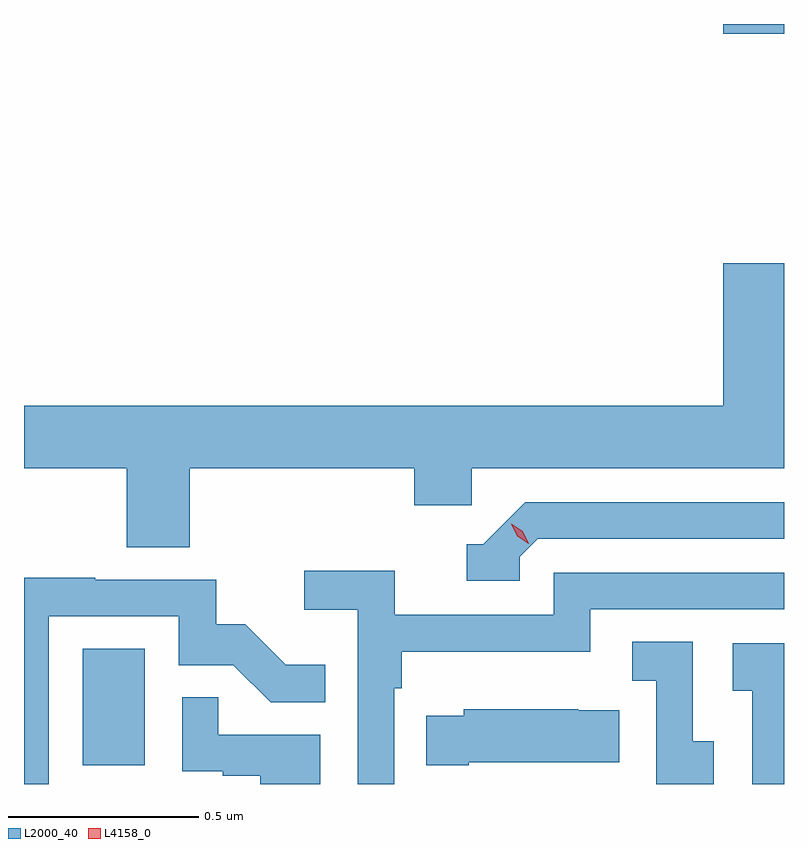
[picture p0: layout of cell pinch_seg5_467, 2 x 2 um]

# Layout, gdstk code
import gdstk
lib = gdstk.Library(unit=1e-6, precision=1e-09)
def R(c, l, rs):  # rectangles x0, y0, x1, y1
    for r in rs: c.add(gdstk.rectangle(r[:2], r[2:], *l))
def P(c, l, *ps):  # polygons
    for p in ps: c.add(gdstk.Polygon(p, *l))
L2000_40 = (2000, 40)
L4158_0 = (4158, 0)

pinch_seg5_467 = lib.new_cell('pinch_seg5_467')
R(pinch_seg5_467, L2000_40, [(906.578,865.302,906.742,865.609), (908.264,867.228,908.424,867.253)])
P(pinch_seg5_467, L2000_40, [(906.86,866.084),(907.451,866.084),(907.451,865.986),(907.602,865.986),(907.602,866.084),(908.424,866.084),(908.424,866.623),(908.264,866.623),(908.264,866.248),(906.424,866.248),(906.424,866.084),(906.695,866.084),(906.695,865.876),(906.86,865.876)],
  [(907.728,865.851),(907.776,865.899),(908.424,865.899),(908.424,865.995),(907.743,865.995),(907.632,865.884),(907.589,865.884),(907.589,865.788),(907.728,865.788)],
  [(907.398,865.505),(907.418,865.505),(907.418,865.601),(907.914,865.601),(907.914,865.713),(908.424,865.713),(908.424,865.809),(907.818,865.809),(907.818,865.698),(907.4,865.698),(907.4,865.814),(907.161,865.814),(907.161,865.712),(907.302,865.712),(907.302,865.253),(907.398,865.253)],
  [(906.489,865.695),(906.831,865.695),(906.831,865.566),(906.975,865.566),(907.073,865.468),(907.217,865.468),(907.217,865.567),(907.113,865.567),(907.006,865.674),(906.93,865.674),(906.93,865.791),(906.611,865.791),(906.611,865.796),(906.424,865.796),(906.424,865.253),(906.489,865.253)],
  [(908.239,865.365),(908.184,865.365),(908.184,865.628),(908.025,865.628),(908.025,865.525),(908.088,865.525),(908.088,865.253),(908.239,865.253)],
  [(908.424,865.623),(908.289,865.623),(908.289,865.499),(908.34,865.499),(908.34,865.253),(908.424,865.253)],
  [(907.204,865.383),(906.935,865.383),(906.935,865.481),(906.84,865.481),(906.84,865.287),(906.947,865.287),(906.947,865.275),(907.046,865.275),(907.046,865.253),(907.204,865.253)],
  [(907.594,865.31),(907.991,865.31),(907.991,865.447),(907.883,865.447),(907.883,865.45),(907.581,865.45),(907.581,865.432),(907.483,865.432),(907.483,865.303),(907.594,865.303)])
P(pinch_seg5_467, L4158_0, [(907.752,865.885),(907.722,865.905),(907.706,865.938),(907.706,865.938),(907.706,865.938),(907.737,865.918),(907.752,865.886),(907.752,865.885)])

lib.write_gds('pinch_seg5_467.gds')
